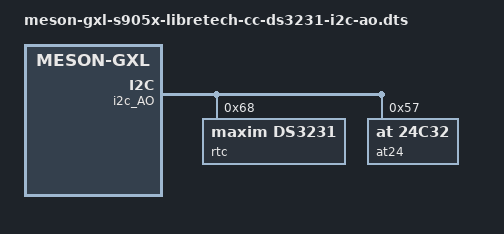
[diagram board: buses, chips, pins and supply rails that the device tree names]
/*
 * Copyright (c) 2017 BayLibre, SAS.
 * Author: Neil Armstrong <narmstrong@baylibre.com>
 * Author: Thomas Rohloff <v10lator@myway.de>
 *
 * SPDX-License-Identifier: (GPL-2.0+ OR MIT)
 */

/*
 * Overlay aimed to add an DS3231 RTC module on I2C_AO bus, address 0x57 and 0x68.
 */

/dts-v1/;
/plugin/;

/ {
	compatible = "libretech,cc", "amlogic,s905x", "amlogic,meson-gxl";

	fragment@1 {
		target = <&i2c_AO>;
		
		__overlay__ {
			rtc@68 {
				compatible = "maxim,ds3231";
				reg = <0x68>;
			};
			at24@57 {
				compatible = "at,24c32";
				reg = <0x57>;
			};
		};
	};
};
